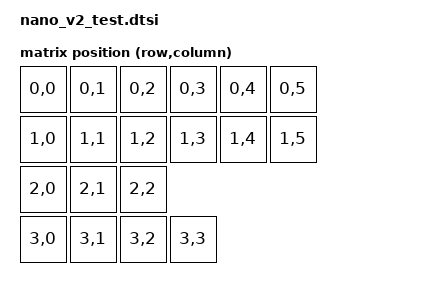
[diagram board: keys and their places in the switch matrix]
/*
 * Copyright (c) 2023 The ZMK Contributors
 *
 * SPDX-License-Identifier: MIT
 */

#include <dt-bindings/zmk/matrix_transform.h>
#include <dt-bindings/led/led.h>

/ {

    chosen {
        zmk,matrix-transform = &default_transform;
    };

    default_transform: keymap_transform_0 {
        compatible = "zmk,matrix-transform";
        columns = <4>;
        rows = <6>;
//	|0   |1   |2   |3   |4   |5   |
//	|6   |7   |8   |9   |A   |B   |
//	|C   |D   |E   |    |    |    |
//	|F   |G   |H   |I   |    |    |

        map = <
RC(0,0)  RC(0,1)  RC(0,2)  RC(0,3)  RC(0,4)  RC(0,5)  
RC(1,0)  RC(1,1)  RC(1,2)  RC(1,3)  RC(1,4)  RC(1,5) 
RC(2,0)  RC(2,1)  RC(2,2)                            
RC(3,0)  RC(3,1)  RC(3,2)  RC(3,3)                   

        >;
    };

};

